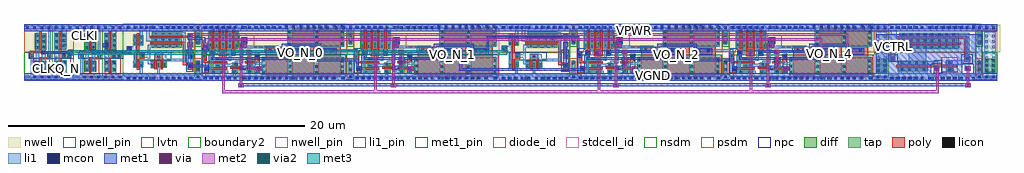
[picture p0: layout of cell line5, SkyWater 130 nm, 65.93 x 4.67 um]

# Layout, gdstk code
from math import pi, radians
import gdstk
lib = gdstk.Library(unit=1e-6, precision=1e-09)
def R(c, l, rs):  # rectangles x0, y0, x1, y1
    for r in rs: c.add(gdstk.rectangle(r[:2], r[2:], *l))
def A(c, l, x, y, w, h, nx, ny, dx, dy):  # array of equal rectangles
    R(c, l, [(x+i*dx, y+j*dy, x+i*dx+w, y+j*dy+h) for i in range(nx) for j in range(ny)])
def P(c, l, *ps):  # polygons
    for p in ps: c.add(gdstk.Polygon(p, *l))
nwell_pin = (64, 16)
nwell = (64, 20)
diff = (65, 20)
tap = (65, 44)
poly = (66, 20)
licon = (66, 44)
li1_pin = (67, 16)
li1 = (67, 20)
mcon = (67, 44)
met1_pin = (68, 16)
met1 = (68, 20)
via = (68, 44)
met2 = (69, 20)
via2 = (69, 44)
met3 = (70, 20)
stdcell_id = (81, 4)
diode_id = (81, 23)
nsdm = (93, 44)
psdm = (94, 20)
npc = (95, 20)
pwell_pin = (122, 16)
lvtn = (125, 44)
boundary2 = (236, 0)

sky130_fd_sc_hs__tapvpwr = lib.new_cell('sky130_fd_sc_hs__tapvpwrvgnd_1')
R(sky130_fd_sc_hs__tapvpwr, nwell, [(-0.19,1.66,0.67,3.52)])
R(sky130_fd_sc_hs__tapvpwr, tap, [(0.155,0.32,0.325,1.145), (0.155,2.17,0.325,3.01)])
R(sky130_fd_sc_hs__tapvpwr, licon, [(0.155,0.44,0.325,0.61), (0.155,0.855,0.325,1.025), (0.155,2.29,0.325,2.46), (0.155,2.72,0.325,2.89)])
P(sky130_fd_sc_hs__tapvpwr, li1, [(0,-0.085),(0,0.085),(0.09,0.085),(0.09,1.105),(0.39,1.105),(0.39,0.085),(0.48,0.085),(0.48,-0.085)],
  [(0.09,2.205),(0.09,3.245),(0,3.245),(0,3.415),(0.48,3.415),(0.48,3.245),(0.39,3.245),(0.39,2.205)])
R(sky130_fd_sc_hs__tapvpwr, mcon, [(0.155,-0.085,0.325,0.085), (0.155,3.245,0.325,3.415)])
R(sky130_fd_sc_hs__tapvpwr, met1_pin, [(0,0,0.48,0.245), (0,3.085,0.48,3.33)])
R(sky130_fd_sc_hs__tapvpwr, met1, [(0,-0.245,0.48,0.245), (0,3.085,0.48,3.575)])
R(sky130_fd_sc_hs__tapvpwr, stdcell_id, [(0,0,0.48,3.33)])
R(sky130_fd_sc_hs__tapvpwr, nsdm, [(0,-0.19,0.48,0.19), (0,2.04,0.48,3.14)])
R(sky130_fd_sc_hs__tapvpwr, psdm, [(0,0.19,0.48,1.275), (0,3.14,0.48,3.52)])
R(sky130_fd_sc_hs__tapvpwr, boundary2, [(0,0,0.48,3.33)])
sky130_fd_sc_hs__tapvpwr.add(gdstk.Label('tapvpwrvgnd_1', (0,0), layer=83, texttype=44))
sky130_fd_sc_hs__tapvpwr.add(gdstk.Label('VPWR', (0.24,3.208), layer=68, texttype=5))
sky130_fd_sc_hs__tapvpwr.add(gdstk.Label('VGND', (0.24,0.123), layer=68, texttype=5))

dly4 = lib.new_cell('dly4')
R(dly4, nwell_pin, [(-1.6,3.085,8.2,3.33)])
R(dly4, nwell, [(-1.8,1.7,8.2,3.59), (-1.455,1.7,9.405,3.59)])
R(dly4, diff, [(2.46,0.17,8.05,1.32), (1.45,0.215,1.87,1.335), (-0.99,0.225,-0.005,1.34), (0.465,0.27,0.885,0.96), (-1.15,1.975,0.9,3.075), (4.175,2.105,8.05,3.17)])
R(dly4, poly, [(2.725,0.04,4.225,1.75), (4.505,0.04,6.005,1.62), (6.285,0.04,7.785,1.62), (1.96,0.265,2.345,0.64), (-1.415,0.295,-1.125,0.685), (-1.375,0.37,-1.18,0.66), (-1.415,0.425,-1.125,0.7), (1.32,0.49,1.995,0.64), (-1.395,0.495,0.125,0.645), (0.335,0.545,1.11,0.695), (0.96,0.645,1.11,1.045), (1.32,0.92,2.1,1.07), (1.965,0.92,2.145,1.16), (-1.465,0.925,0.125,1.075), (-1.465,0.975,-1.25,1.755), (0.96,1.025,1.11,1.795), (2,1.07,2.28,1.585), (-1.595,1.29,-1.28,1.735), (-0.455,1.415,0.13,1.66), (0.355,1.45,0.685,1.875), (-0.995,1.465,-0.67,1.86), (4.505,1.5,6.005,3.3), (6.285,1.5,7.785,3.3), (-0.27,1.52,-0.08,1.795), (0.36,1.525,0.605,1.78), (-0.445,1.535,0.09,1.9), (0.98,1.56,1.15,2.19), (-0.885,1.57,-0.735,3.205), (0.465,1.57,0.615,3.205), (2.775,1.59,3.71,1.995), (2.875,1.6,3.635,1.945), (-0.455,1.64,-0.305,3.205), (-0.02,1.64,0.13,3.205), (-0.445,1.69,0.09,1.84), (1.09,2.045,1.205,2.135), (1.105,2.115,1.435,2.66), (1.03,2.175,1.275,2.37), (1.085,2.37,1.36,2.56)])
R(dly4, licon, [(-1.5,-0.135,-1.33,0.035), (-1.1,-0.135,-0.93,0.035), (-0.695,-0.135,-0.525,0.035), (-0.285,-0.135,-0.115,0.035), (0.08,-0.135,0.25,0.035), (0.565,-0.135,0.735,0.035), (1.29,-0.135,1.46,0.035), (1.94,-0.135,2.11,0.035), (2.345,-0.135,2.515,0.035), (2.755,-0.135,2.925,0.035), (3.12,-0.135,3.29,0.035), (3.605,-0.135,3.775,0.035), (4.31,-0.135,4.48,0.035), (4.7,-0.135,4.87,0.035), (5.15,-0.135,5.32,0.035), (5.5,-0.135,5.67,0.035), (5.885,-0.135,6.055,0.035), (6.29,-0.135,6.46,0.035), (6.7,-0.135,6.87,0.035), (7.205,-0.135,7.375,0.035), (7.84,-0.135,8.01,0.035), (4.28,0.21,4.45,0.38), (6.06,0.235,6.23,0.405), (2.5,0.25,2.67,0.42), (1.535,0.265,1.705,0.435), (-0.875,0.27,-0.705,0.44), (-0.32,0.27,-0.15,0.44), (7.84,0.28,8.01,0.45), (0.535,0.31,0.705,0.48), (2.08,0.315,2.25,0.485), (-1.36,0.42,-1.19,0.59), (4.28,0.62,4.45,0.79), (7.84,0.62,8.01,0.79), (6.06,0.635,6.23,0.805), (2.5,0.655,2.67,0.825), (1.58,0.695,1.75,0.865), (-0.575,0.7,-0.405,0.87), (-0.235,0.7,-0.065,0.87), (0.555,0.75,0.725,0.92), (7.84,1.015,8.01,1.185), (4.28,1.045,4.45,1.215), (6.06,1.065,6.23,1.235), (2.5,1.075,2.67,1.245), (1.51,1.125,1.68,1.295), (-0.575,1.13,-0.405,1.3), (-0.235,1.13,-0.065,1.3), (2.06,1.33,2.23,1.5), (-1.51,1.38,-1.34,1.55), (-0.92,1.57,-0.75,1.74), (-0.255,1.57,-0.085,1.74), (0.445,1.57,0.615,1.74), (4.745,1.7,4.915,1.87), (5.35,1.7,5.52,1.87), (6.555,1.7,6.725,1.87), (7.16,1.7,7.33,1.87), (2.945,1.73,3.115,1.9), (3.33,1.73,3.5,1.9), (-0.68,2.02,-0.51,2.19), (0.225,2.02,0.395,2.19), (0.685,2.05,0.855,2.22), (-1.11,2.065,-0.94,2.235), (-0.25,2.14,-0.08,2.31), (4.265,2.155,4.435,2.325), (7.84,2.185,8.01,2.355), (6.06,2.205,6.23,2.375), (1.18,2.375,1.35,2.545), (-0.68,2.38,-0.51,2.55), (0.225,2.385,0.395,2.555), (-1.11,2.44,-0.94,2.61), (0.685,2.44,0.855,2.61), (-0.25,2.51,-0.08,2.68), (7.84,2.545,8.01,2.715), (4.265,2.555,4.435,2.725), (6.06,2.575,6.23,2.745), (0.225,2.76,0.395,2.93), (-0.68,2.765,-0.51,2.935), (-1.11,2.82,-0.94,2.99), (0.685,2.825,0.855,2.995), (-0.25,2.855,-0.08,3.025), (6.06,2.92,6.23,3.09), (7.84,2.92,8.01,3.09), (4.265,2.945,4.435,3.115), (-1.5,3.265,-1.33,3.435), (-1.1,3.265,-0.93,3.435), (-0.695,3.265,-0.525,3.435), (-0.285,3.265,-0.115,3.435), (0.08,3.265,0.25,3.435), (0.565,3.265,0.735,3.435), (1.29,3.265,1.46,3.435), (1.94,3.265,2.11,3.435), (2.345,3.265,2.515,3.435), (2.755,3.265,2.925,3.435), (3.12,3.265,3.29,3.435), (3.605,3.265,3.775,3.435), (4.05,3.33,4.22,3.5), (4.535,3.33,4.705,3.5), (5.015,3.33,5.185,3.5), (5.5,3.33,5.67,3.5), (5.885,3.33,6.055,3.5), (6.29,3.33,6.46,3.5), (6.7,3.33,6.87,3.5), (7.285,3.33,7.455,3.5), (7.8,3.33,7.97,3.5)])
R(dly4, li1_pin, [(-1.525,1.335,-1.34,1.67)])
R(dly4, li1, [(-1.6,-0.245,8.2,0.095), (-2.08,-0.07,-1.53,0.14), (2.5,-0.07,8.035,1.38), (0.535,0.065,0.705,0.48), (-1.005,0.265,0.19,0.44), (1.35,0.265,1.785,0.435), (2.14,0.28,2.33,0.65), (2,0.29,2.33,0.515), (0.445,0.3,0.785,0.485), (1.02,0.32,1.245,0.75), (1.065,0.32,1.395,0.505), (-1.375,0.33,-1.18,0.67), (-1.005,0.388,-0.825,1.765), (1.35,0.4,1.76,0.505), (1.435,0.695,1.785,0.865), (1.52,0.695,1.965,0.865), (1.805,0.695,1.97,0.94), (-0.655,0.7,0.285,0.87), (0.09,0.74,0.605,0.91), (0.53,0.74,0.795,0.91), (0.405,0.745,0.82,0.94), (1.875,0.76,2.005,0.95), (1.995,0.805,2.02,0.83), (1.94,0.82,2.68,0.99), (1.895,0.93,1.94,0.96), (0.64,0.94,1.21,1.115), (1.92,0.95,1.955,0.97), (1,1.08,1.21,1.845), (0.225,1.11,0.395,1.855), (1.395,1.12,1.805,1.325), (-0.655,1.13,0.29,1.3), (2.055,1.25,2.23,1.59), (1.47,1.26,1.655,1.7), (-1.53,1.295,-1.335,1.635), (-1.53,1.365,-1.335,1.735), (-0.34,1.47,0.005,1.705), (-0.955,1.485,-0.51,1.68), (0.3,1.54,0.44,1.735), (0.395,1.54,0.705,1.77), (-0.82,1.55,-0.51,1.775), (1.435,1.6,1.81,1.77), (1.075,1.645,1.25,2.035), (0.225,1.65,0.465,1.81), (-1.005,1.655,-0.665,1.775), (0.225,1.665,0.395,1.915), (-0.34,1.695,0.005,1.85), (2.81,1.7,3.625,1.905), (4.575,1.7,5.675,1.875), (6.385,1.7,7.485,1.875), (-0.68,1.75,-0.51,3.065), (0.225,1.755,0.395,3.065), (2.81,1.9,3.625,2.105), (1.075,1.94,1.645,2.11), (1.48,1.94,3.09,2.11), (-1.115,1.95,-0.915,3.265), (0.685,1.95,0.855,3.265), (4.175,2.05,8.03,3.305), (-0.25,2.06,-0.08,3.28), (1.09,2.345,1.435,2.585), (-2.08,3.235,-1.55,3.575), (-1.6,3.235,8.2,3.59)])
A(dly4, mcon, 4.055, -0.15, 0.17, 0.17, 4, 2, 0.48, 3.395)
R(dly4, mcon, [(-1.425,-0.15,-1.255,0.02), (-1.425,-0.15,-1.255,0.02), (-1.025,-0.15,-0.855,0.02), (-1.025,-0.15,-0.855,0.02), (-0.62,-0.15,-0.45,0.02), (-0.62,-0.15,-0.45,0.02), (-0.215,-0.15,-0.045,0.02), (-0.215,-0.15,-0.045,0.02), (0.19,-0.15,0.36,0.02), (0.19,-0.15,0.36,0.02), (0.56,-0.15,0.73,0.02), (0.56,-0.15,0.73,0.02), (1.07,-0.15,1.24,0.02), (1.55,-0.15,1.72,0.02), (1.55,-0.15,1.72,0.02), (2.015,-0.15,2.185,0.02), (2.015,-0.15,2.185,0.02), (2.42,-0.15,2.59,0.02), (2.42,-0.15,2.59,0.02), (2.825,-0.15,2.995,0.02), (2.825,-0.15,2.995,0.02), (3.23,-0.15,3.4,0.02), (3.23,-0.15,3.4,0.02), (3.6,-0.15,3.77,0.02), (3.6,-0.15,3.77,0.02), (5.495,-0.15,5.665,0.02), (5.96,-0.15,6.13,0.02), (5.96,-0.15,6.13,0.02), (6.365,-0.15,6.535,0.02), (6.365,-0.15,6.535,0.02), (6.77,-0.15,6.94,0.02), (6.77,-0.15,6.94,0.02), (7.275,-0.15,7.445,0.02), (7.275,-0.15,7.445,0.02), (7.91,-0.15,8.08,0.02), (7.91,-0.15,8.08,0.02), (2.155,0.45,2.325,0.62), (-1.36,0.47,-1.19,0.64), (1.04,0.495,1.21,0.665), (2.06,1.265,2.23,1.435), (-0.985,1.53,-0.815,1.7), (-0.255,1.535,-0.085,1.705), (0.41,1.57,0.58,1.74), (1.475,1.6,1.645,1.77), (4.74,1.7,4.91,1.87), (5.385,1.7,5.555,1.87), (6.55,1.7,6.72,1.87), (7.195,1.705,7.365,1.875), (1.18,2.38,1.35,2.55), (5.935,3.245,6.105,3.415), (6.375,3.245,6.545,3.415), (6.81,3.245,6.98,3.415), (7.395,3.245,7.565,3.415), (7.91,3.245,8.08,3.415), (-1.44,3.25,-1.27,3.42), (-1.025,3.25,-0.855,3.42), (-1.025,3.25,-0.855,3.42), (-1.025,3.25,-0.855,3.42), (-0.62,3.25,-0.45,3.42), (-0.62,3.25,-0.45,3.42), (-0.215,3.25,-0.045,3.42), (-0.215,3.25,-0.045,3.42), (0.19,3.25,0.36,3.42), (0.19,3.25,0.36,3.42), (0.56,3.25,0.73,3.42), (0.56,3.25,0.73,3.42), (1.07,3.25,1.24,3.42), (1.55,3.25,1.72,3.42), (1.55,3.25,1.72,3.42), (2.015,3.25,2.185,3.42), (2.015,3.25,2.185,3.42), (2.42,3.25,2.59,3.42), (2.42,3.25,2.59,3.42), (2.825,3.25,2.995,3.42), (2.825,3.25,2.995,3.42), (3.23,3.25,3.4,3.42), (3.23,3.25,3.4,3.42), (3.6,3.25,3.77,3.42), (3.6,3.25,3.77,3.42)])
R(dly4, met1_pin, [(-1.6,0,8.2,0.245), (-1.43,0.42,-1.11,0.72), (-0.355,1.475,0.005,1.775), (4.53,1.495,5.735,1.945), (6.315,1.5,7.52,1.95), (1.045,2.04,1.345,2.36), (-1.6,3.085,8.2,3.33)])
R(dly4, met1, [(-1.6,-0.245,8.2,0.245), (2.08,0.41,2.43,0.72), (-1.43,0.42,-1.11,0.72), (0.95,0.45,1.3,0.76), (1.195,0.59,1.665,0.76), (1.49,0.59,1.66,1.175), (-0.91,1.165,4.6,1.335), (4.53,1.165,4.7,1.5), (-0.91,1.225,-0.74,1.505), (1.995,1.275,2.31,1.49), (-1.06,1.475,-0.74,1.775), (-0.355,1.475,0.005,1.775), (0.37,1.475,0.69,1.775), (4.53,1.495,5.735,1.945), (6.315,1.5,7.52,1.95), (1.405,1.56,1.765,1.83), (0.37,1.635,3.86,1.805), (3.8,1.635,3.97,2.14), (6.315,1.8,6.485,2.155), (1.045,2.04,1.345,2.62), (1.195,2.04,1.435,2.62), (3.8,2.085,6.485,2.255), (-1.6,3.085,8.2,3.575)])
R(dly4, via, [(2.165,0.505,2.315,0.655), (1.52,1.62,1.67,1.77)])
R(dly4, met2, [(2.08,0.415,2.43,0.725), (1.57,0.49,1.97,0.66), (1.89,0.49,2.145,0.66), (1.57,0.565,1.76,1.605), (1.405,1.56,1.765,1.83)])
R(dly4, nsdm, [(-1.6,-0.245,8.2,1.51)])
P(dly4, psdm, [(-1.6,1.66),(-1.6,3.575),(8.2,3.575),(8.2,1.66),(7.73,1.66),(7.73,2.02),(1.915,2.02),(1.915,2.775),(0.985,2.775),(0.985,1.885),(-1.165,1.885),(-1.165,1.66)])
R(dly4, npc, [(-1.565,0.245,-1.07,1.96), (1.995,0.26,2.265,0.535), (2,0.28,2.33,1.585), (2.025,1.265,2.295,1.54), (-1.525,1.28,-1.28,1.63), (-1.095,1.46,0.68,1.825), (2.665,1.655,3.735,2.055), (4.65,1.66,5.575,1.93), (6.46,1.66,7.385,1.93), (1.06,2.22,1.495,2.69)])
R(dly4, pwell_pin, [(-1.6,0,8.2,0.245)])
R(dly4, lvtn, [(-1.34,0.035,8.14,1.505)])
dly4.add(gdstk.Reference(sky130_fd_sc_hs__tapvpwr, (-2.08,0)))
dly4.add(gdstk.Label('VO_P', (6.915,1.75), layer=68, texttype=5))
dly4.add(gdstk.Label('VO_N', (5,1.705), layer=68, texttype=5))
dly4.add(gdstk.Label('BP', (-0.2,1.5), layer=68, texttype=5))
dly4.add(gdstk.Label('BN', (1.275,2.19), layer=68, texttype=5))
dly4.add(gdstk.Label('VI_P', (-1.26,0.445), layer=68, texttype=5))
dly4.add(gdstk.Label('VGND', (5.935,0.055), layer=68, texttype=5))
dly4.add(gdstk.Label('VPWR', (5.935,3.208), layer=68, texttype=5))
dly4.add(gdstk.Label('VNB', (5.935,0.055), layer=64, texttype=59))
dly4.add(gdstk.Label('VI_N', (-1.405,1.6), layer=67, texttype=5))

sky130_fd_sc_hs__diode_2 = lib.new_cell('sky130_fd_sc_hs__diode_2')
R(sky130_fd_sc_hs__diode_2, nwell_pin, [(0,3.085,0.96,3.33)])
R(sky130_fd_sc_hs__diode_2, nwell, [(-0.19,1.66,1.15,3.52)])
R(sky130_fd_sc_hs__diode_2, diff, [(0.135,0.32,0.825,1.25)])
A(sky130_fd_sc_hs__diode_2, licon, 0.195, 0.36, 0.17, 0.17, 1, 3, 0, 0.34)
A(sky130_fd_sc_hs__diode_2, licon, 0.595, 0.36, 0.17, 0.17, 1, 3, 0, 0.34)
A(sky130_fd_sc_hs__diode_2, li1_pin, 0.155, 0.47, 0.17, 0.17, 1, 7, 0, 0.37)
A(sky130_fd_sc_hs__diode_2, li1_pin, 0.635, 0.47, 0.17, 0.17, 1, 7, 0, 0.37)
R(sky130_fd_sc_hs__diode_2, li1, [(0,-0.085,0.96,0.085), (0.095,0.265,0.865,3.065), (0,3.245,0.96,3.415)])
R(sky130_fd_sc_hs__diode_2, mcon, [(0.155,-0.085,0.325,0.085), (0.635,-0.085,0.805,0.085), (0.155,3.245,0.325,3.415), (0.635,3.245,0.805,3.415)])
R(sky130_fd_sc_hs__diode_2, met1_pin, [(0,0,0.96,0.245), (0,3.085,0.96,3.33)])
R(sky130_fd_sc_hs__diode_2, met1, [(0,-0.245,0.96,0.245), (0,3.085,0.96,3.575)])
R(sky130_fd_sc_hs__diode_2, stdcell_id, [(0,0,0.96,3.33)])
R(sky130_fd_sc_hs__diode_2, diode_id, [(0.135,0.32,0.825,1.25)])
R(sky130_fd_sc_hs__diode_2, nsdm, [(0,-0.19,0.96,1.66)])
R(sky130_fd_sc_hs__diode_2, psdm, [(0,3.14,0.96,3.52)])
R(sky130_fd_sc_hs__diode_2, pwell_pin, [(0,0,0.96,0.245)])
R(sky130_fd_sc_hs__diode_2, boundary2, [(0,0,0.96,3.33)])
sky130_fd_sc_hs__diode_2.add(gdstk.Label('diode_2', (0,0), layer=83, texttype=44))
sky130_fd_sc_hs__diode_2.add(gdstk.Label('VPWR', (0.48,3.208), layer=68, texttype=5))
sky130_fd_sc_hs__diode_2.add(gdstk.Label('VGND', (0.48,0.123), layer=68, texttype=5))
sky130_fd_sc_hs__diode_2.add(gdstk.Label('VNB', (0.48,0.123), layer=64, texttype=59))
sky130_fd_sc_hs__diode_2.add(gdstk.Label('VPB', (0.48,3.208), layer=64, texttype=5))
sky130_fd_sc_hs__diode_2.add(gdstk.Label('DIODE', (0.24,2.405), layer=67, texttype=5))
sky130_fd_sc_hs__diode_2.add(gdstk.Label('DIODE', (0.72,0.925), layer=67, texttype=5))
sky130_fd_sc_hs__diode_2.add(gdstk.Label('DIODE', (0.72,2.405), layer=67, texttype=5))
sky130_fd_sc_hs__diode_2.add(gdstk.Label('DIODE', (0.24,0.555), layer=67, texttype=5))
sky130_fd_sc_hs__diode_2.add(gdstk.Label('DIODE', (0.72,1.295), layer=67, texttype=5))
sky130_fd_sc_hs__diode_2.add(gdstk.Label('DIODE', (0.24,1.665), layer=67, texttype=5))
sky130_fd_sc_hs__diode_2.add(gdstk.Label('DIODE', (0.24,1.295), layer=67, texttype=5))
sky130_fd_sc_hs__diode_2.add(gdstk.Label('DIODE', (0.24,0.925), layer=67, texttype=5))
sky130_fd_sc_hs__diode_2.add(gdstk.Label('DIODE', (0.72,0.555), layer=67, texttype=5))
sky130_fd_sc_hs__diode_2.add(gdstk.Label('DIODE', (0.24,2.775), layer=67, texttype=5))
sky130_fd_sc_hs__diode_2.add(gdstk.Label('DIODE', (0.24,2.035), layer=67, texttype=5))
sky130_fd_sc_hs__diode_2.add(gdstk.Label('DIODE', (0.72,1.665), layer=67, texttype=5))
sky130_fd_sc_hs__diode_2.add(gdstk.Label('DIODE', (0.72,2.775), layer=67, texttype=5))
sky130_fd_sc_hs__diode_2.add(gdstk.Label('DIODE', (0.72,2.035), layer=67, texttype=5))

dly_bias4 = lib.new_cell('dly_bias4')
R(dly_bias4, nwell_pin, [(-1.6,3.085,4.3,3.33)])
R(dly_bias4, nwell, [(-1.8,1.66,4.5,3.59)])
R(dly_bias4, diff, [(2.305,0.38,2.725,1.105), (-0.965,0.405,1.035,1.085), (-0.865,1.91,3.135,3.005)])
R(dly_bias4, poly, [(1.45,0.39,1.825,0.7), (1.545,0.445,1.74,0.815), (1.54,0.46,1.695,0.815), (-1.095,0.665,3,0.815), (1.44,0.665,1.695,0.815), (3.515,1.03,3.91,1.42), (-1.48,1.08,-1.15,1.62), (3.595,1.105,3.79,1.395), (-1.385,1.195,-1.225,1.405), (3.515,1.395,3.74,2.745), (-1.3,1.56,-1.15,2.325), (-1.2,2.175,3.265,2.325), (-1.095,2.595,3.74,2.745)])
R(dly_bias4, licon, [(-1.5,-0.135,-1.33,0.035), (-1.1,-0.135,-0.93,0.035), (-0.695,-0.135,-0.525,0.035), (-0.285,-0.135,-0.115,0.035), (0.08,-0.135,0.25,0.035), (0.565,-0.135,0.735,0.035), (1.29,-0.135,1.46,0.035), (1.94,-0.135,2.11,0.035), (2.345,-0.135,2.515,0.035), (2.755,-0.135,2.925,0.035), (3.12,-0.135,3.29,0.035), (3.605,-0.135,3.775,0.035), (-0.76,0.445,-0.59,0.615), (-0.26,0.445,-0.09,0.615), (0.195,0.445,0.365,0.615), (0.695,0.445,0.865,0.615), (2.45,0.445,2.62,0.615), (1.56,0.505,1.73,0.675), (-0.76,0.865,-0.59,1.035), (-0.26,0.865,-0.09,1.035), (0.195,0.865,0.365,1.035), (0.695,0.865,0.865,1.035), (2.45,0.87,2.62,1.04), (3.61,1.16,3.78,1.33), (-1.4,1.215,-1.23,1.385), (-0.66,1.95,-0.49,2.12), (-0.16,1.95,0.01,2.12), (0.295,1.95,0.465,2.12), (0.795,1.95,0.965,2.12), (1.26,1.95,1.43,2.12), (1.76,1.95,1.93,2.12), (2.215,1.95,2.385,2.12), (2.715,1.95,2.885,2.12), (-0.66,2.375,-0.49,2.545), (-0.16,2.375,0.01,2.545), (0.295,2.375,0.465,2.545), (0.795,2.375,0.965,2.545), (1.26,2.375,1.43,2.545), (1.76,2.375,1.93,2.545), (2.215,2.375,2.385,2.545), (2.715,2.375,2.885,2.545), (-0.66,2.795,-0.49,2.965), (-0.16,2.795,0.01,2.965), (0.295,2.795,0.465,2.965), (0.795,2.795,0.965,2.965), (1.26,2.795,1.43,2.965), (1.76,2.795,1.93,2.965), (2.215,2.795,2.385,2.965), (2.715,2.795,2.885,2.965), (-1.5,3.265,-1.33,3.435), (-1.1,3.265,-0.93,3.435), (-0.695,3.265,-0.525,3.435), (-0.285,3.265,-0.115,3.435), (0.08,3.265,0.25,3.435), (0.565,3.265,0.735,3.435), (1.29,3.265,1.46,3.435), (1.94,3.265,2.11,3.435), (2.345,3.265,2.515,3.435), (2.755,3.265,2.925,3.435), (3.12,3.265,3.29,3.435), (3.605,3.265,3.775,3.435), (4.05,3.33,4.22,3.5)])
R(dly_bias4, li1, [(-1.55,-0.245,4.3,0.14), (-1.645,-0.085,-1.49,0.085), (2.285,-0.055,2.82,0.62), (-0.9,-0.04,1.025,0.635), (1.545,0.425,1.74,0.765), (3.555,0.425,3.85,0.89), (1.545,0.755,1.74,0.9), (-0.905,0.83,1.385,1.05), (1.34,0.83,1.74,1.05), (3.605,0.84,3.85,2.585), (2.255,0.845,3.81,1.12), (-0.25,0.885,0.935,2.075), (3.595,1.08,3.79,1.42), (-1.415,1.135,-1.22,1.47), (-1.435,1.14,-1.19,2.19), (-1.815,1.855,-1.277,2.19), (-0.805,1.93,3.19,2.15), (-1.13,2.355,3.01,2.575), (-1.44,2.385,-1.05,3.36), (3.605,2.55,3.85,2.985), (-0.87,2.755,3.43,2.985), (-0.87,2.755,3.43,2.985), (3.385,2.755,3.85,2.985), (-1.6,3.235,4.3,3.59)])
R(dly_bias4, mcon, [(-1.425,-0.15,-1.255,0.02), (-1.425,-0.15,-1.255,0.02), (-1.025,-0.15,-0.855,0.02), (-1.025,-0.15,-0.855,0.02), (-0.62,-0.15,-0.45,0.02), (-0.62,-0.15,-0.45,0.02), (-0.215,-0.15,-0.045,0.02), (-0.215,-0.15,-0.045,0.02), (0.19,-0.15,0.36,0.02), (0.19,-0.15,0.36,0.02), (0.56,-0.15,0.73,0.02), (0.56,-0.15,0.73,0.02), (1.07,-0.15,1.24,0.02), (1.55,-0.15,1.72,0.02), (1.55,-0.15,1.72,0.02), (2.015,-0.15,2.185,0.02), (2.015,-0.15,2.185,0.02), (2.42,-0.15,2.59,0.02), (2.42,-0.15,2.59,0.02), (2.825,-0.15,2.995,0.02), (2.825,-0.15,2.995,0.02), (3.23,-0.15,3.4,0.02), (3.23,-0.15,3.4,0.02), (3.6,-0.15,3.77,0.02), (3.6,-0.15,3.77,0.02), (4.055,-0.15,4.225,0.02), (1.56,0.495,1.73,0.665), (3.61,0.495,3.78,0.665), (-1.36,1.97,-1.19,2.14), (4.055,3.245,4.225,3.415), (-1.44,3.25,-1.27,3.42), (-1.025,3.25,-0.855,3.42), (-1.025,3.25,-0.855,3.42), (-1.025,3.25,-0.855,3.42), (-0.62,3.25,-0.45,3.42), (-0.62,3.25,-0.45,3.42), (-0.215,3.25,-0.045,3.42), (-0.215,3.25,-0.045,3.42), (0.19,3.25,0.36,3.42), (0.19,3.25,0.36,3.42), (0.56,3.25,0.73,3.42), (0.56,3.25,0.73,3.42), (1.07,3.25,1.24,3.42), (1.55,3.25,1.72,3.42), (1.55,3.25,1.72,3.42), (2.015,3.25,2.185,3.42), (2.015,3.25,2.185,3.42), (2.42,3.25,2.59,3.42), (2.42,3.25,2.59,3.42), (2.825,3.25,2.995,3.42), (2.825,3.25,2.995,3.42), (3.23,3.25,3.4,3.42), (3.23,3.25,3.4,3.42), (3.6,3.25,3.77,3.42), (3.6,3.25,3.77,3.42)])
R(dly_bias4, met1_pin, [(-1.6,0,4.3,0.245), (3.54,0.42,3.86,0.72), (1.49,0.445,1.81,0.745), (-1.43,1.905,-1.11,2.205), (-1.6,3.085,4.3,3.33)])
R(dly_bias4, met1, [(-1.6,-0.245,4.3,0.245), (3.54,0.42,3.86,0.72), (1.49,0.445,1.81,0.745), (-1.43,1.905,-1.11,2.205), (-1.6,3.085,4.3,3.575)])
R(dly_bias4, stdcell_id, [(-1.6,0,4.3,3.33)])
R(dly_bias4, nsdm, [(-1.6,-0.22,4.3,1.66)])
R(dly_bias4, psdm, [(-1.6,1.66,4.3,3.59)])
R(dly_bias4, npc, [(1.45,0.27,2.015,1.13), (3.305,0.88,4.095,1.555), (-1.57,1.03,-0.985,1.54)])
R(dly_bias4, pwell_pin, [(-1.6,0,4.3,0.245)])
R(dly_bias4, lvtn, [(1.95,0.31,3.085,1.345)])
dly_bias4.add(gdstk.Reference(sky130_fd_sc_hs__diode_2, (-2.56,0)))
dly_bias4.add(gdstk.Label('VCTRL', (-1.29,1.245), layer=68, texttype=5))
dly_bias4.add(gdstk.Label('VCTRL', (-1.33,2.01), layer=68, texttype=5))
dly_bias4.add(gdstk.Label('BN', (3.71,0.525), layer=68, texttype=5))
dly_bias4.add(gdstk.Label('BP', (1.66,0.525), layer=68, texttype=5))
dly_bias4.add(gdstk.Label('VGND', (3.355,0.055), layer=68, texttype=5))
dly_bias4.add(gdstk.Label('VPWR', (2.635,3.208), layer=68, texttype=5))
dly_bias4.add(gdstk.Label('VNB', (2.81,0.055), layer=64, texttype=59))
dly_bias4.add(gdstk.Label('VPB', (2.855,3.208), layer=64, texttype=5))

dly_out4 = lib.new_cell('dly_out4')
R(dly_out4, nwell_pin, [(-1.6,3.085,3.2,3.33)])
R(dly_out4, nwell, [(-1.8,1.66,3.2,3.59), (-1.8,1.66,3.2,3.59)])
R(dly_out4, diff, [(1.875,0.655,2.55,1.075), (0.28,0.67,1.37,1.09), (-0.725,1.97,1.275,3.065), (1.875,2.135,2.55,2.835)])
R(dly_out4, poly, [(2.14,0.48,2.29,2.97), (-1.485,0.505,-1.155,0.965), (0.54,0.54,0.69,1.335), (0.96,0.54,1.11,1.335), (-1.415,0.62,-1.22,0.91), (-1.395,0.705,-1.24,0.965), (-1.24,0.78,-0.81,0.965), (-0.99,0.78,-0.81,2.38), (0.54,1.17,1.1,1.425), (0.54,1.17,1.1,1.425), (-1.565,1.22,-1.215,1.515), (-1.48,1.22,-1.32,1.535), (1.75,1.235,2.145,1.61), (0.54,1.27,1.1,1.53), (1.81,1.275,2.2,1.555), (-1.405,1.5,-1.235,2.743), (-0.99,2.23,1.405,2.38), (-1.405,2.655,1.405,2.805)])
R(dly_out4, licon, [(-1.5,-0.135,-1.33,0.035), (-1.1,-0.135,-0.93,0.035), (-0.695,-0.135,-0.525,0.035), (-0.285,-0.135,-0.115,0.035), (0.08,-0.135,0.25,0.035), (0.565,-0.135,0.735,0.035), (1.29,-0.135,1.46,0.035), (1.94,-0.135,2.11,0.035), (2.345,-0.135,2.515,0.035), (2.755,-0.135,2.925,0.035), (-1.4,0.675,-1.23,0.845), (1.16,0.735,1.33,0.905), (1.915,0.74,2.085,0.91), (2.34,0.74,2.51,0.91), (0.32,0.745,0.49,0.915), (0.74,0.745,0.91,0.915), (0.74,1.28,0.91,1.45), (-1.485,1.29,-1.315,1.46), (1.845,1.33,2.015,1.5), (-0.485,2.01,-0.315,2.18), (-0.035,2.01,0.135,2.18), (0.45,2.01,0.62,2.18), (0.955,2.01,1.125,2.18), (1.915,2.23,2.085,2.4), (2.34,2.23,2.51,2.4), (-0.48,2.43,-0.31,2.6), (-0.025,2.43,0.145,2.6), (0.45,2.43,0.62,2.6), (0.965,2.43,1.135,2.6), (1.915,2.58,2.085,2.75), (2.34,2.58,2.51,2.75), (-0.58,2.855,-0.41,3.025), (-0.025,2.855,0.145,3.025), (0.445,2.855,0.615,3.025), (0.965,2.855,1.135,3.025), (-1.5,3.265,-1.33,3.435), (-1.1,3.265,-0.93,3.435), (-0.695,3.265,-0.525,3.435), (-0.285,3.265,-0.115,3.435), (0.08,3.265,0.25,3.435), (0.565,3.265,0.735,3.435), (1.29,3.265,1.46,3.435), (1.855,3.265,2.025,3.435), (2.26,3.265,2.43,3.435), (2.755,3.265,2.925,3.435)])
R(dly_out4, li1, [(-1.6,-0.245,3.2,0.14), (0.735,0,0.93,0.99), (1.91,0.125,2.105,1), (-1.415,0.595,-1.22,0.935), (0.735,0.6,0.93,1.015), (1.91,0.6,2.105,1.015), (1.15,0.605,1.345,1.02), (0.305,0.63,0.5,1.53), (2.325,0.64,2.52,2.9), (1.255,0.85,1.47,1.02), (1.375,0.85,1.555,2.185), (-1.015,1.07,0.44,1.24), (-1.505,1.2,-1.31,1.54), (-1.015,1.2,-0.835,2.955), (-1.415,1.22,-1.185,2.96), (0.48,1.26,1.125,1.58), (1.54,1.315,2.095,1.54), (2.46,1.745,2.925,2.09), (2.37,1.79,2.705,2.045), (-0.6,2.005,1.38,2.18), (1.9,2.13,2.095,3.43), (-0.595,2.43,1.56,2.605), (1.425,2.43,1.67,3.285), (-1.015,2.85,1.25,3.025), (-1.6,3.235,3.2,3.59)])
R(dly_out4, mcon, [(-1.425,-0.15,-1.255,0.02), (-1.425,-0.15,-1.255,0.02), (-1.025,-0.15,-0.855,0.02), (-1.025,-0.15,-0.855,0.02), (-0.62,-0.15,-0.45,0.02), (-0.62,-0.15,-0.45,0.02), (-0.215,-0.15,-0.045,0.02), (-0.215,-0.15,-0.045,0.02), (0.19,-0.15,0.36,0.02), (0.19,-0.15,0.36,0.02), (0.56,-0.15,0.73,0.02), (0.56,-0.15,0.73,0.02), (1.07,-0.15,1.24,0.02), (1.55,-0.15,1.72,0.02), (1.55,-0.15,1.72,0.02), (2.015,-0.15,2.185,0.02), (2.015,-0.15,2.185,0.02), (2.42,-0.15,2.59,0.02), (2.42,-0.15,2.59,0.02), (2.825,-0.15,2.995,0.02), (2.825,-0.15,2.995,0.02), (-1.4,0.69,-1.23,0.86), (2.72,1.83,2.89,2), (-1.4,2.715,-1.23,2.885), (-1.44,3.25,-1.27,3.42), (-1.025,3.25,-0.855,3.42), (-1.025,3.25,-0.855,3.42), (-1.025,3.25,-0.855,3.42), (-0.62,3.25,-0.45,3.42), (-0.62,3.25,-0.45,3.42), (-0.215,3.25,-0.045,3.42), (-0.215,3.25,-0.045,3.42), (0.19,3.25,0.36,3.42), (0.19,3.25,0.36,3.42), (0.56,3.25,0.73,3.42), (0.56,3.25,0.73,3.42), (1.07,3.25,1.24,3.42), (1.55,3.25,1.72,3.42), (1.55,3.25,1.72,3.42), (1.93,3.25,2.1,3.42), (1.93,3.25,2.1,3.42), (2.335,3.25,2.505,3.42), (2.335,3.25,2.505,3.42), (2.825,3.25,2.995,3.42), (2.825,3.25,2.995,3.42)])
R(dly_out4, met1_pin, [(-1.6,0,3.2,0.245), (2.645,1.775,2.965,2.075), (-1.47,2.04,-1.15,2.34), (-1.47,2.62,-1.15,2.92), (-1.6,3.085,3.2,3.33)])
R(dly_out4, met1, [(-1.6,-0.245,3.2,0.245), (-1.47,0.64,-1.15,0.94), (-1.37,0.87,-1.155,2.11), (2.645,1.775,2.965,2.075), (-1.47,2.04,-1.15,2.34), (-1.47,2.62,-1.15,2.92), (-1.6,3.085,3.2,3.575)])
R(dly_out4, stdcell_id, [(-1.6,0,3.2,3.33)])
R(dly_out4, nsdm, [(-1.6,-0.22,3.2,1.66)])
R(dly_out4, psdm, [(-1.6,1.66,3.2,3.59)])
R(dly_out4, npc, [(-1.505,0.35,-1.025,1.84), (-0.025,1.14,2.47,1.66), (0.315,1.14,1.18,1.545), (1.65,1.215,2.135,1.645)])
R(dly_out4, pwell_pin, [(-1.6,0,3.2,0.245)])
dly_out4.add(gdstk.Label('P', (-1.385,1.355), layer=68, texttype=5))
dly_out4.add(gdstk.Label('N', (-1.3,0.695), layer=68, texttype=5))
dly_out4.add(gdstk.Label('VGND', (1.01,0.055), layer=68, texttype=5))
dly_out4.add(gdstk.Label('VPWR', (0.92,3.22), layer=68, texttype=5))
dly_out4.add(gdstk.Label('Y', (2.78,1.905), layer=68, texttype=5))
dly_out4.add(gdstk.Label('VNB', (1.07,0.055), layer=64, texttype=59))
dly_out4.add(gdstk.Label('VBP', (0.885,3.285), layer=64, texttype=5))

c_dl = lib.new_cell('dl')
R(c_dl, nwell_pin, [(0,3.085,1.92,3.33)])
R(c_dl, nwell, [(-0.19,1.66,1.92,3.52)])
R(c_dl, diff, [(0.41,0.37,1.2,1.11), (0.41,1.84,1.2,2.96)])
R(c_dl, poly, [(0.725,0.24,0.875,1.3), (0.075,1.185,0.875,1.335), (0.075,1.23,0.345,1.535), (1.26,1.295,1.53,1.655), (0.725,1.615,0.875,3.09), (0.725,1.615,1.53,1.765)])
A(c_dl, licon, 0.47, 1.95, 0.17, 0.17, 1, 3, 0, 0.35)
R(c_dl, licon, [(0.97,0.43,1.14,0.6), (0.47,0.475,0.64,0.645), (0.47,0.88,0.64,1.05), (0.97,0.88,1.14,1.05), (0.125,1.28,0.295,1.45), (1.31,1.38,1.48,1.55), (0.97,1.9,1.14,2.07), (0.97,2.315,1.14,2.485), (0.97,2.69,1.14,2.86)])
R(c_dl, li1_pin, [(0.515,1.58,0.685,1.75), (0.93,2.69,1.1,2.86)])
R(c_dl, li1, [(0,-0.085,1.92,0.085), (1.31,-0.085,1.48,1.68), (0.89,0.35,1.14,2.98), (0.465,0.37,0.705,2.96), (0.125,1.185,0.295,3.245), (0,3.245,1.92,3.415)])
A(c_dl, mcon, 0.155, -0.085, 0.17, 0.17, 3, 2, 0.48, 3.33)
R(c_dl, mcon, [(1.115,3.245,1.285,3.415), (1.595,3.245,1.765,3.415)])
R(c_dl, met1, [(0,-0.245,1.92,0.245), (0,3.085,1.92,3.575)])
R(c_dl, stdcell_id, [(0,0,1.92,3.33)])
R(c_dl, nsdm, [(0,-0.19,1.92,1.66)])
R(c_dl, psdm, [(0,1.66,1.92,3.52)])
P(c_dl, npc, [(0,1.23),(0,1.73),(0.365,1.73),(0.365,1.7),(1.6,1.7),(1.6,1.23)])
R(c_dl, pwell_pin, [(0,0,1.92,0.245)])
R(c_dl, lvtn, [(0.19,0.19,1.25,1.3)])
c_dl.add(gdstk.Label('VPWR', (0.72,3.208), layer=68, texttype=5))
c_dl.add(gdstk.Label('VGND', (0.72,0.123), layer=68, texttype=5))
c_dl.add(gdstk.Label('VNB', (0.72,0.123), layer=64, texttype=59))
c_dl.add(gdstk.Label('VPB', (0.72,3.208), layer=64, texttype=5))
c_dl.add(gdstk.Label('Y', (1.045,2.775), layer=67, texttype=5))
c_dl.add(gdstk.Label('A', (0.6,1.665), layer=67, texttype=5))

sky130_fd_sc_hs__inv_1 = lib.new_cell('sky130_fd_sc_hs__inv_1')
R(sky130_fd_sc_hs__inv_1, nwell_pin, [(0,3.085,1.44,3.33)])
R(sky130_fd_sc_hs__inv_1, nwell, [(-0.19,1.66,1.63,3.52)])
R(sky130_fd_sc_hs__inv_1, diff, [(0.505,0.37,1.295,1.11), (0.505,1.84,1.295,2.96)])
P(sky130_fd_sc_hs__inv_1, poly, [(0.86,0.24),(0.86,1.3),(0.145,1.3),(0.145,1.63),(0.835,1.63),(0.835,1.765),(0.85,1.765),(0.85,3.09),(1,3.09),(1,1.765),(1.015,1.765),(1.015,1.3),(1.01,1.3),(1.01,0.24)])
A(sky130_fd_sc_hs__inv_1, licon, 1.065, 1.9, 0.17, 0.17, 1, 3, 0, 0.415)
A(sky130_fd_sc_hs__inv_1, licon, 0.565, 2.03, 0.17, 0.17, 1, 3, 0, 0.35)
R(sky130_fd_sc_hs__inv_1, licon, [(0.565,0.43,0.735,0.6), (1.065,0.43,1.235,0.6), (0.565,0.88,0.735,1.05), (1.065,0.88,1.235,1.05), (0.225,1.38,0.395,1.55), (0.565,1.38,0.735,1.55)])
A(sky130_fd_sc_hs__inv_1, li1_pin, 1.115, 0.47, 0.17, 0.17, 1, 7, 0, 0.37)
R(sky130_fd_sc_hs__inv_1, li1_pin, [(0.155,1.58,0.325,1.75)])
R(sky130_fd_sc_hs__inv_1, li1, [(0.985,0.35,1.315,2.98), (0.125,1.3,0.815,1.78)])
P(sky130_fd_sc_hs__inv_1, li1, [(0,-0.085),(0,0.085),(0.485,0.085),(0.485,1.13),(0.815,1.13),(0.815,0.085),(1.44,0.085),(1.44,-0.085)],
  [(0.485,1.95),(0.485,3.245),(0,3.245),(0,3.415),(1.44,3.415),(1.44,3.245),(0.815,3.245),(0.815,1.95)])
A(sky130_fd_sc_hs__inv_1, mcon, 0.155, -0.085, 0.17, 0.17, 3, 2, 0.48, 3.33)
R(sky130_fd_sc_hs__inv_1, met1_pin, [(0,0,1.44,0.245), (0,3.085,1.44,3.33)])
R(sky130_fd_sc_hs__inv_1, met1, [(0,-0.245,1.44,0.245), (0,3.085,1.44,3.575)])
R(sky130_fd_sc_hs__inv_1, stdcell_id, [(0,0,1.44,3.33)])
R(sky130_fd_sc_hs__inv_1, nsdm, [(0,-0.19,1.44,1.66)])
R(sky130_fd_sc_hs__inv_1, psdm, [(0,1.66,1.44,3.52)])
P(sky130_fd_sc_hs__inv_1, npc, [(0,1.23),(0,1.73),(0.365,1.73),(0.365,1.7),(1.44,1.7),(1.44,1.23)])
R(sky130_fd_sc_hs__inv_1, pwell_pin, [(0,0,1.44,0.245)])
R(sky130_fd_sc_hs__inv_1, lvtn, [(0.19,0.19,1.25,1.3)])
R(sky130_fd_sc_hs__inv_1, boundary2, [(0,0,1.44,3.33)])
sky130_fd_sc_hs__inv_1.add(gdstk.Label('inv_1', (0,0), layer=83, texttype=44))
sky130_fd_sc_hs__inv_1.add(gdstk.Label('VPWR', (0.72,3.208), layer=68, texttype=5))
sky130_fd_sc_hs__inv_1.add(gdstk.Label('VGND', (0.72,0.123), layer=68, texttype=5))
sky130_fd_sc_hs__inv_1.add(gdstk.Label('VNB', (0.72,0.123), layer=64, texttype=59))
sky130_fd_sc_hs__inv_1.add(gdstk.Label('VPB', (0.72,3.208), layer=64, texttype=5))
sky130_fd_sc_hs__inv_1.add(gdstk.Label('Y', (1.2,0.555), layer=67, texttype=5))
sky130_fd_sc_hs__inv_1.add(gdstk.Label('Y', (1.2,0.925), layer=67, texttype=5))
sky130_fd_sc_hs__inv_1.add(gdstk.Label('Y', (1.2,1.295), layer=67, texttype=5))
sky130_fd_sc_hs__inv_1.add(gdstk.Label('Y', (1.2,1.665), layer=67, texttype=5))
sky130_fd_sc_hs__inv_1.add(gdstk.Label('Y', (1.2,2.035), layer=67, texttype=5))
sky130_fd_sc_hs__inv_1.add(gdstk.Label('Y', (1.2,2.405), layer=67, texttype=5))
sky130_fd_sc_hs__inv_1.add(gdstk.Label('Y', (1.2,2.775), layer=67, texttype=5))
sky130_fd_sc_hs__inv_1.add(gdstk.Label('A', (0.24,1.665), layer=67, texttype=5))

line5 = lib.new_cell('line5')
R(line5, nwell, [(38.935,1.345,39.24,3.275), (38.935,1.345,39.24,3.275), (-7.46,1.35,-7.235,3.275), (-7.46,1.35,-7.235,3.275), (45.32,1.35,45.545,3.275), (45.32,1.35,45.545,3.275), (17.885,3.155,18.095,3.275)])
R(line5, li1, [(2.375,-0.28,2.765,-0.175), (12.72,-0.28,13.015,-0.175), (27.835,-0.255,28.09,-0.175), (44.935,-0.245,45.175,-0.17), (45.15,-0.245,45.295,-0.17), (-12.675,1.25,-11.6,1.465), (1.88,1.39,3.45,1.56), (27.235,1.39,28.81,1.56), (-7.03,1.41,-6.795,1.88), (38.315,2.92,38.855,2.965), (38.805,2.92,39.3,2.955), (38.805,2.92,39.3,2.955), (45.045,2.92,45.67,3.025)])
R(line5, mcon, [(-16.99,0.165,-16.82,0.335), (-18.305,0.545,-18.135,0.715), (18.33,1.115,18.5,1.285), (-17.87,1.265,-17.7,1.435), (-16.07,1.265,-15.9,1.435), (-14.48,1.295,-14.31,1.465), (-6.985,1.675,-6.815,1.845), (-13.655,1.765,-13.485,1.935), (-14.97,2.38,-14.8,2.55)])
R(line5, met1_pin, [(-17.12,0.125,-16.75,0.385), (-18.415,0.5,-18.045,0.76), (39.46,1.59,39.78,1.89), (39.46,1.59,39.78,1.89), (-13.775,1.705,-13.405,1.965), (-15.055,2.325,-14.685,2.585)])
R(line5, met1, [(-4.64,-0.995,-4.27,-0.735), (5.65,-0.995,6.02,-0.735), (20.695,-0.995,21.065,-0.735), (30.97,-0.995,31.34,-0.735), (44.47,-0.995,44.84,-0.735), (44.47,-0.995,44.84,-0.735), (-4.45,-0.93,44.6,-0.73), (42.845,-0.37,44.255,0.625), (42.845,-0.37,44.255,0.625), (40.02,-0.275,42.16,2.56), (40.02,-0.275,42.16,2.56), (39.1,-0.21,40.415,1.45), (39.1,-0.21,40.415,1.45), (38.43,-0.18,39.315,2.56), (38.43,-0.18,39.315,2.56), (45.025,-0.14,45.61,0.655), (45.025,-0.14,45.61,0.655), (42.34,0.09,42.7,0.38), (42.34,0.09,42.7,0.38), (44.435,0.105,44.84,0.405), (44.435,0.105,44.84,0.405), (-17.12,0.125,-16.75,0.385), (10.3,0.125,10.495,1.26), (10.39,0.125,18.55,0.295), (17.325,0.19,17.545,0.855), (17.32,0.22,17.64,0.43), (3.34,0.24,3.51,0.93), (28.7,0.25,28.87,0.93), (-7.75,0.33,-6.65,0.5), (-18.415,0.5,-18.045,0.76), (41.825,0.57,45.61,2.565), (41.825,0.57,45.61,2.565), (0.03,0.76,0.225,1.26), (0.12,0.76,3.36,0.93), (25.385,0.76,25.58,1.26), (25.475,0.76,28.715,0.93), (18.25,1.005,18.6,1.44), (-17.93,1.225,-17.64,1.47), (-16.115,1.225,-15.745,1.485), (-14.535,1.225,-14.265,1.525), (-17.915,1.265,-15.88,1.435), (-7.005,1.285,-6.835,1.575), (-14.51,1.3,-11.9,1.475), (18.25,1.41,18.4,2.455), (13.18,1.47,13.55,1.73), (12.135,1.54,12.29,2.455), (-7.03,1.545,-6.71,1.965), (-4.465,1.655,-4.165,1.77), (5.815,1.655,6.115,1.77), (20.895,1.655,21.195,1.77), (31.175,1.655,31.475,1.77), (-8.08,1.695,-7.685,2.015), (-13.775,1.705,-13.405,1.965), (-7.03,1.925,-6.88,2.385), (39.195,2.1,40.11,2.56), (39.195,2.1,40.11,2.56), (-8.045,2.21,-7.71,2.53), (-7.75,2.215,-6.905,2.385), (12.135,2.305,17.405,2.455), (17.59,2.305,18.395,2.455), (-15.055,2.325,-14.685,2.585)])
R(line5, via, [(-4.53,-0.94,-4.38,-0.79), (5.76,-0.94,5.91,-0.79), (20.805,-0.94,20.955,-0.79), (31.08,-0.94,31.23,-0.79), (44.58,-0.94,44.73,-0.79), (44.58,-0.94,44.73,-0.79), (42.435,0.16,42.585,0.31), (42.435,0.16,42.585,0.31), (44.58,0.18,44.73,0.33), (44.58,0.18,44.73,0.33), (-5.76,1.235,-5.61,1.385), (4.54,1.235,4.69,1.385), (19.61,1.235,19.76,1.385), (29.89,1.235,30.04,1.385), (34.76,1.26,34.91,1.41), (36.55,1.26,36.7,1.41), (-16.005,1.28,-15.855,1.43), (13.29,1.525,13.44,1.675), (-6.925,1.68,-6.775,1.83), (-4.395,1.74,-4.245,1.89), (5.88,1.74,6.03,1.89), (20.965,1.74,21.115,1.89), (31.245,1.74,31.395,1.89), (-7.965,1.775,-7.815,1.925)])
R(line5, met2, [(-5.715,-1.4,42.69,-1.2), (-5.715,-1.275,-5.545,1.295), (4.555,-1.275,4.725,1.295), (19.655,-1.275,19.825,1.295), (29.925,-1.275,30.095,1.295), (42.52,-1.275,42.69,0.28), (42.52,-1.275,42.69,0.28), (-4.64,-0.995,-4.27,-0.735), (5.65,-0.995,6.02,-0.735), (20.695,-0.995,21.065,-0.735), (30.97,-0.995,31.34,-0.735), (44.47,-0.995,44.84,-0.735), (44.47,-0.995,44.84,-0.735), (-4.545,-0.84,-4.375,1.73), (5.75,-0.84,5.92,1.73), (20.79,-0.84,20.96,1.73), (31.075,-0.84,31.245,1.73), (44.57,-0.84,44.74,0.305), (44.57,-0.84,44.74,0.305), (42.34,0.09,42.7,0.38), (42.34,0.09,42.7,0.38), (44.46,0.105,44.86,0.41), (44.46,0.105,44.86,0.41), (34.64,1.085,35.06,1.53), (36.41,1.105,36.86,1.525), (-16.115,1.165,-15.745,1.535), (-5.86,1.165,-5.5,1.455), (4.415,1.165,4.775,1.455), (19.5,1.165,19.86,1.455), (29.775,1.165,30.135,1.455), (36.41,1.44,36.58,2.64), (13.17,1.46,13.54,1.74), (34.645,1.505,34.815,2.295), (-7.01,1.54,-6.68,1.965), (-6.85,1.565,-6.68,2.295), (-4.545,1.655,-4.075,1.965), (5.75,1.655,6.22,1.965), (20.79,1.655,21.26,1.965), (31.08,1.655,31.55,1.965), (-8.08,1.69,-7.68,2.03), (-7.925,1.81,-7.755,2.64), (-6.85,2.125,34.815,2.295), (-7.925,2.47,36.58,2.64)])
R(line5, via2, [(-16.045,1.25,-15.845,1.45), (13.255,1.5,13.455,1.7)])
R(line5, met3, [(-16.17,1.16,-15.775,1.545), (-16.17,1.2,13.5,1.5), (13.17,1.2,13.54,1.805)])
line5.add(gdstk.Reference(dly4, (4.77,-0.315)))
line5.add(gdstk.Reference(dly4, (19.85,-0.315)))
line5.add(gdstk.Reference(dly4, (30.13,-0.315)))
line5.add(gdstk.Reference(dly_bias4, (40.89,-0.315)))
line5.add(gdstk.Reference(dly_out4, (-9.19,-0.315), rotation=pi, x_reflection=True))
line5.add(gdstk.Reference(sky130_fd_sc_hs__diode_2, (45.67,-0.315)))
line5.add(gdstk.Reference(dly4, (-5.51,-0.315)))
line5.add(gdstk.Reference(sky130_fd_sc_hs__tapvpwr, (45.19,-0.315)))
line5.add(gdstk.Reference(c_dl, (-17.19,-0.315), rotation=pi, x_reflection=True))
line5.add(gdstk.Reference(dly_out4, (16.17,-0.315), rotation=pi, x_reflection=True))
line5.add(gdstk.Reference(c_dl, (-13.83,-0.315), rotation=pi, x_reflection=True))
line5.add(gdstk.Reference(sky130_fd_sc_hs__inv_1, (-15.75,-0.315), rotation=pi, x_reflection=True))
line5.add(gdstk.Reference(sky130_fd_sc_hs__inv_1, (-12.39,-0.315), rotation=pi, x_reflection=True))
line5.add(gdstk.Label('CLKQ_N', (-16.935,0.255), layer=68, texttype=5))
line5.add(gdstk.Label('CLKQ', (-18.245,0.65), layer=68, texttype=5))
line5.add(gdstk.Label('CLKI', (-14.93,2.46), layer=68, texttype=5))
line5.add(gdstk.Label('CLKI_N', (-13.57,1.85), layer=68, texttype=5))
line5.add(gdstk.Label('VO_N_4', (35.31,1.255), layer=68, texttype=5))
line5.add(gdstk.Label('VCTRL', (39.645,1.725), layer=68, texttype=5))
line5.add(gdstk.Label('VCTRL', (39.645,1.725), layer=68, texttype=5))
line5.add(gdstk.Label('VO_N_1', (9.84,1.24), layer=68, texttype=5))
line5.add(gdstk.Label('VO_N_0', (-0.45,1.36), layer=68, texttype=5))
line5.add(gdstk.Label('VGND', (23.41,-0.185), layer=68, texttype=5))
line5.add(gdstk.Label('VPWR', (22.11,2.835), layer=68, texttype=5))
line5.add(gdstk.Label('VO_N_2', (24.965,1.24), layer=68, texttype=5))
line5.add(gdstk.Label('VO_N_3', (35.18,1.28), layer=68, texttype=5))

lib.write_gds('line5.gds')
